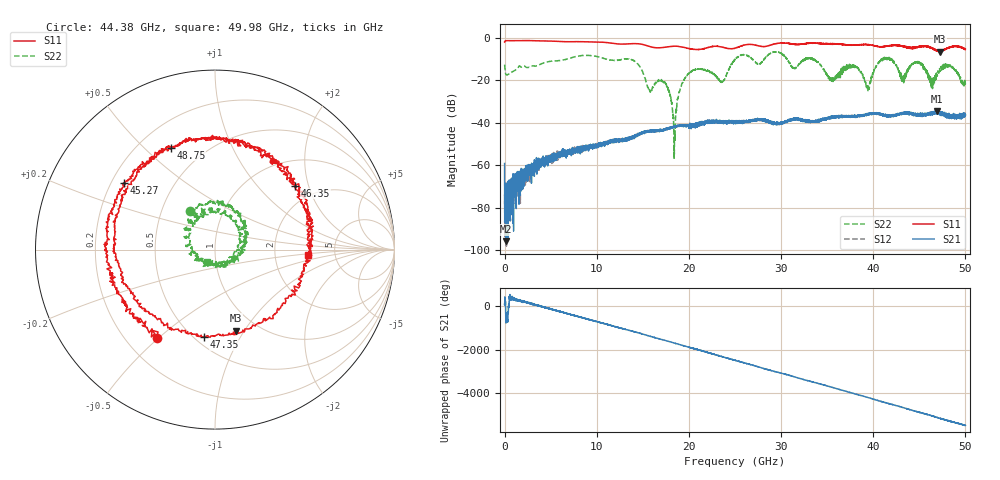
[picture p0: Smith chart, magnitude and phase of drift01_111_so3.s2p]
!Created with skrf (http://scikit-rf.org).
# Hz S RI R 50.0
!freq ReS11 ImS11 ReS21 ImS21 ReS12 ImS12 ReS22 ImS22
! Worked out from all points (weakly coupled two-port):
!   10001 points, 300 kHz to 50 GHz, reference 50 ohm
!   highest |S21| = -34.48 dB at 46.89 GHz (marker M1); lowest = -95.7 dB at 125.3 MHz (marker M2)
!   lowest |S11| = -6.6 dB at 47.2 GHz (marker M3), VSWR 2.74, Z = 39.8 - j45.9 ohm
!   |S11| at or under -10 dB: nowhere
!   |S22| runs from -57.2 to -6.6 dB; largest |S21 - S12| = 0.0036
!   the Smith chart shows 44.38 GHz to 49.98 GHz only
!   S11 on the Smith chart (normalised r, x): 44.38 GHz: 0.33, -0.49; 45.27 GHz: 0.25, +0.31; 46.35 GHz: 1.56, +1.65; 47.35 GHz: 0.56, -0.71; 48.75 GHz: 0.33, +0.61; 49.98 GHz: 3.12, -0.23
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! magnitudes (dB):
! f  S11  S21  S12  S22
! 300 kHz  -2.1  -59.2  -78.3  -12.8
! 125.3 MHz  -1.5  -95.7  -80.8  -17.1
! 8.335 GHz  -1.9  -52.2  -52.6  -8.5
! 16.67 GHz  -4.8  -43.8  -43.5  -20.0
! 17.74 GHz  -4.3  -42.8  -42.7  -24.1
! 18.44 GHz  -4.1  -41.7  -41.9  -47.5
! 19.93 GHz  -5.1  -41.4  -41.3  -17.2
! 23.61 GHz  -4.5  -39.3  -39.3  -20.7
! 25 GHz  -5.0  -39.4  -39.9  -10.5
! 33.34 GHz  -2.6  -39.5  -39.4  -9.9
! 39.46 GHz  -3.3  -35.6  -36.0  -23.3
! 41.67 GHz  -3.8  -36.9  -36.6  -9.8
! 43.18 GHz  -4.1  -35.5  -35.8  -19.0
! 44.38 GHz  -4.6  -35.8  -35.8  -11.9
! 45.27 GHz  -4.0  -36.6  -36.6  -12.7
! 46.35 GHz  -4.9  -35.9  -35.6  -21.9
! 46.89 GHz  -6.1  -34.5  -34.7  -17.1
! 47.2 GHz  -6.6  -35.5  -35.1  -14.6
! 47.35 GHz  -6.2  -35.9  -35.6  -13.8
! 48.75 GHz  -4.2  -37.6  -37.3  -14.9
! 49.98 GHz  -5.7  -36.5  -36.6  -21.8
! 50 GHz  -5.5  -36.2  -36.7  -22.0
